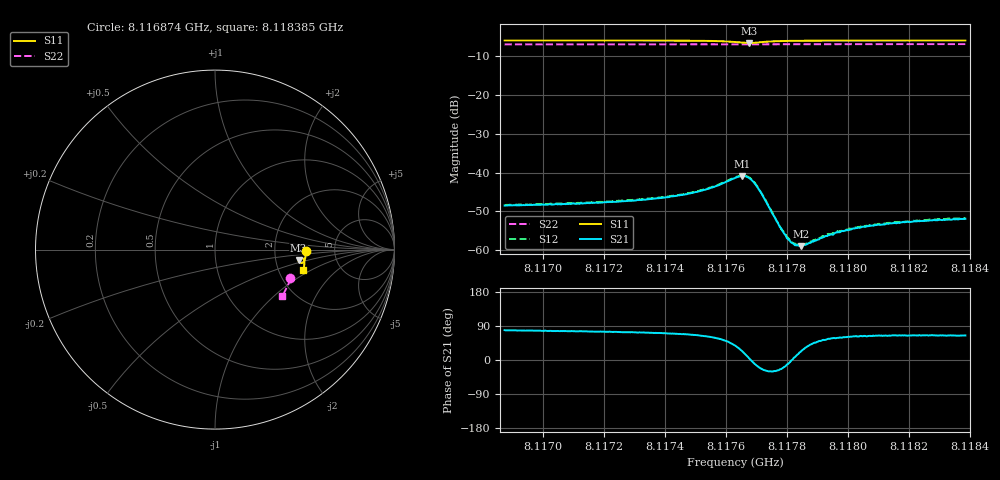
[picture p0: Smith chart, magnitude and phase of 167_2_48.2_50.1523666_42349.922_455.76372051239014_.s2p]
#  HZ  S  RI  R  50.00
! Rohde & Schwarz Vector Network Analyzer
! Rohde-Schwarz,ZNB20-2Port,1311601062101988,3.16
! Created: UTC 3/20/2024, 11:43:34 AM
! freq[Hz]  re:S11  im:S11  re:S21  im:S21  re:S12  im:S12  re:S22  im:S22
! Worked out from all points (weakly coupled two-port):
!   401 points, 8.116874 GHz to 8.118385 GHz, reference 50 ohm
!   highest |S21| = -40.90 dB at 8.117652 GHz (marker M1); lowest = -59.0 dB at 8.117845 GHz (marker M2)
!   lowest |S11| = -6.6 dB at 8.117675 GHz (marker M3), VSWR 2.77, Z = 135 - j20.3 ohm
!   |S11| at or under -10 dB: nowhere
!   |S22| runs from -6.9 to -6.8 dB; largest |S21 - S12| = 0.00022
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8.1168736e9  0.5063 -0.00731  0.000734 0.00369  0.000833 0.00372  0.4204 -0.1609
8.1171268e9  0.5051 -0.0273  0.00097 0.00388  0.00105 0.00396  0.4147 -0.1777
8.1173799e9  0.5021 -0.0488  0.0015 0.00443  0.00158 0.00451  0.408 -0.1941
8.1174555e9  0.5003 -0.0565  0.00193 0.00477  0.00199 0.00483  0.4057 -0.1991
8.1175122e9  0.4977 -0.0627  0.00246 0.00518  0.00253 0.00529  0.404 -0.2028
8.1175689e9  0.4924 -0.0701  0.00359 0.00568  0.00372 0.00576  0.4022 -0.2064
8.1176293e9  0.4774 -0.0747  0.0067 0.00529  0.00685 0.00533  0.3999 -0.2101
8.117652e9  0.4689 -0.07  0.00824 0.00366  0.00845 0.00363  0.3989 -0.211
8.1176747e9  0.4655 -0.0588  0.00855 0.000782  0.00869 0.000727  0.3982 -0.2119
8.1176898e9  0.4688 -0.0511  0.00754 -0.000955  0.00766 -0.00104  0.398 -0.2123
8.1177087e9  0.4766 -0.0463  0.00564 -0.00202  0.00575 -0.0021  0.3978 -0.2135
8.1177767e9  0.4943 -0.0541  0.0018 -0.000818  0.00182 -0.000901  0.3963 -0.2182
8.1177994e9  0.4962 -0.0578  0.0014 -0.000307  0.00146 -0.000368  0.3959 -0.2196
8.1178107e9  0.4969 -0.0595  0.00129 -0.000112  0.0013 -9.39e-05  0.3955 -0.2205
8.117822e9  0.4974 -0.0612  0.0012 0.000118  0.00122 8.52e-05  0.3952 -0.2212
8.1178447e9  0.498 -0.0643  0.00105 0.000418  0.00107 0.000404  0.3944 -0.2226
8.1178825e9  0.4985 -0.069  0.000958 0.000885  0.000963 0.000866  0.3933 -0.2252
8.1179392e9  0.4985 -0.0751  0.000883 0.00129  0.000942 0.00131  0.3913 -0.2288
8.1179883e9  0.4981 -0.0798  0.00088 0.00155  0.000904 0.00159  0.3899 -0.2318
8.1180412e9  0.4976 -0.0846  0.000872 0.00176  0.000937 0.0018  0.3881 -0.2351
8.1181357e9  0.4963 -0.0927  0.000949 0.00199  0.001 0.00201  0.3847 -0.241
8.118385e9  0.4922 -0.1121  0.00108 0.00229  0.00113 0.00233  0.3759 -0.256
